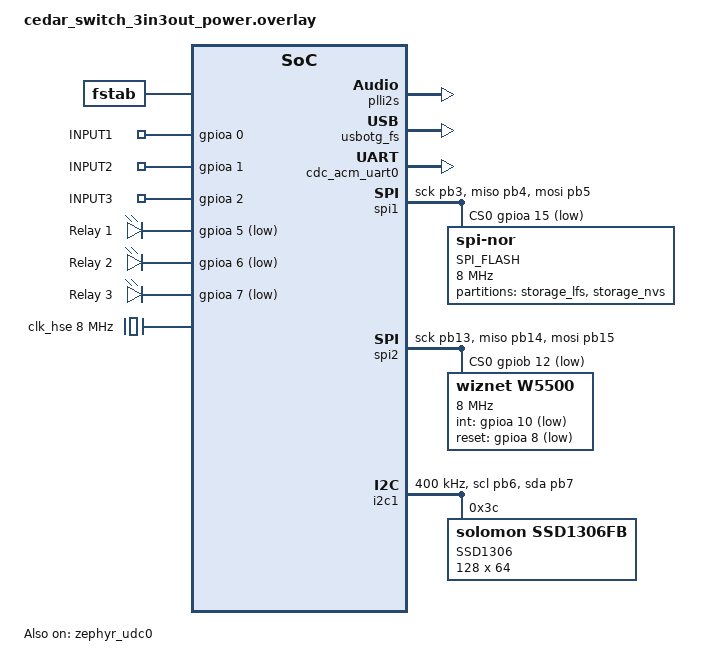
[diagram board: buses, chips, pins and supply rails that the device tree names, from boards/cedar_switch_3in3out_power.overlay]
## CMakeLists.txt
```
# SPDX-License-Identifier: Apache-2.0

cmake_minimum_required(VERSION 3.20.0)
find_package(Zephyr REQUIRED HINTS $ENV{ZEPHYR_BASE})
project(cedar_switch_3in3out_power)

target_sources(app PRIVATE
        src/main.c
        src/test_functions.c # to delete
        src/littlefs/filesystem_helpers.c
        src/zbus_topics.c
        src/msgq_topiks.c
        src/web/http_common.c
        src/web/REST_endpoints/settings_status.c
        src/web/REST_endpoints/default_relay_state.c
        src/web/REST_endpoints/mqtt_settings.c
        src/web/REST_endpoints/relays_state.c
        src/web/REST_endpoints/system_reboot.c
        src/web/REST_endpoints/webui_delete.c
        src/web/REST_endpoints/webui_mkdir.c
        src/web/REST_endpoints/webui_upload.c
        src/web/REST_endpoints/login.c
        src/web/REST_endpoints/web_user_mgmt.c
        src/web/static_resources.c
        src/web/http_server_init.c
        src/mqtt/ha_mqtt.c
        src/mqtt/ha_mqtt_callback.c
        src/mqtt/ha_mqtt_helpers.c
        src/mqtt/ha_mqtt_adapter.c
        src/mqtt/ha_task.c
        src/littlefs/littlefs_mount.c
        src/io/io.c
        src/web/authentication.c
        #src/diagnostic/diag_report.c
#        src/io.c
#        src/fs_mount.c
#        src/nvs_mount.c
#        src/app/web.c
#        src/app/mongoose.c
#        src/app/home_assistant_mqtt.c
#        src/app/rest_api.c
)

zephyr_linker_sources(SECTIONS sections-rom.ld)

zephyr_linker_section(NAME http_resource_desc_http_static_service
        KVMA RAM_REGION GROUP RODATA_REGION)

zephyr_linker_section(NAME http_resource_desc_http_api_service
        KVMA RAM_REGION GROUP RODATA_REGION)
```

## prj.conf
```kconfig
CONFIG_SPOTFLOW=y
CONFIG_SPOTFLOW_MODULE_DEFAULT_LOG_LEVEL=4
CONFIG_SPOTFLOW_DEVICE_ID="zephyr-device-001" # Set unique identifier of your device
CONFIG_SPOTFLOW_INGEST_KEY="sf_ikv1_J9lsvzuhpz9pXoY3jfgBX4100_xrUvJfWwvn5VRRdqv3awV7QBGj6awjZJFe1IQ4GvpcZG"
CONFIG_MBEDTLS_ECDH_C=y
CONFIG_MBEDTLS_ECP_C=y

#CONFIG_BOOTLOADER_MCUBOOT=y
# ========== MAIN KERNEL SETTINGS ==========
CONFIG_THREAD_MONITOR=y
CONFIG_THREAD_NAME=y
CONFIG_THREAD_RUNTIME_STATS=y

CONFIG_MAIN_STACK_SIZE=2048
CONFIG_HEAP_MEM_POOL_SIZE=8192
CONFIG_SYS_HEAP_RUNTIME_STATS=y

CONFIG_INIT_STACKS=y
CONFIG_TIMESLICING=y
CONFIG_TIMESLICE_SIZE=20
CONFIG_TIMESLICE_PRIORITY=0

CONFIG_REBOOT=y
CONFIG_DEBUG=y
CONFIG_COMPILER_OPT="-Og"
CONFIG_DEBUG_OPTIMIZATIONS=y

# ========== LOGGING / SHELL ==========
CONFIG_PRINTK=y
CONFIG_LOG=y
CONFIG_LOG_MODE_DEFERRED=y
CONFIG_LOG_PROCESS_THREAD=y
CONFIG_SHELL_LOG_BACKEND=y
CONFIG_LOG_BACKEND_NET=y
CONFIG_LOG_BACKEND_MQTT=n

# shell via telnet
CONFIG_NET_SHELL=y
CONFIG_KERNEL_SHELL=y
CONFIG_SHELL_BACKEND_TELNET=y
CONFIG_SHELL_TELNET_SUPPORT_COMMAND=y

# ========== NETWORK ==========
CONFIG_NETWORKING=y
CONFIG_NET_IPV4=y
CONFIG_NET_IPV6=n
CONFIG_NET_ARP=y
CONFIG_NET_UDP=y
CONFIG_NET_TCP=y
CONFIG_NET_DHCPV4=y
CONFIG_NET_L2_ETHERNET=y
CONFIG_NET_L2_ETHERNET_MGMT=y
CONFIG_ETH_W5500=y

CONFIG_NET_HOSTNAME_UNIQUE=y
#CONFIG_NET_ARP_TABLE_SIZE=2

# Network managment
CONFIG_NET_MGMT=y
CONFIG_NET_MGMT_EVENT=y
#CONFIG_NET_CONFIG_SETTINGS=y
#CONFIG_NET_CONFIG_AUTO_INIT=n
CONFIG_NET_MGMT_EVENT_STACK_SIZE=1024


#Sockets
CONFIG_NET_SOCKETS=y
CONFIG_NET_SOCKETS_SERVICE=y
CONFIG_NET_SOCKETS_SOCKOPT_TLS=y
CONFIG_NET_SOCKETS_TLS_MAX_CONTEXTS=2
CONFIG_TLS_CREDENTIALS=y
#CONFIG_TLS_CREDENTIALS_SHELL=y

# FD and sockets limits
CONFIG_ZVFS_OPEN_MAX=32
CONFIG_ZVFS_POLL_MAX=10
CONFIG_ZVFS_EVENTFD_MAX=10
CONFIG_NET_MAX_CONTEXTS=20
CONFIG_NET_MAX_CONN=18

#Packets / buffers pools
CONFIG_NET_PKT_RX_COUNT=24
CONFIG_NET_PKT_TX_COUNT=24
CONFIG_NET_BUF_RX_COUNT=48
CONFIG_NET_BUF_TX_COUNT=48
#CONFIG_NET_BUF_DATA_COUNT=128
#CONFIG_NET_BUF_DATA_SIZE=128

#Network packet stack
CONFIG_NET_RX_STACK_SIZE=2048
CONFIG_NET_TX_STACK_SIZE=2048
CONFIG_NET_SOCKETS_SERVICE_STACK_SIZE=2048

#Network monitoring
CONFIG_NET_LOG=y
CONFIG_NET_BUF_POOL_USAGE=y
CONFIG_NET_STATISTICS=y
CONFIG_NET_STATISTICS_PER_INTERFACE=y
CONFIG_NET_STATISTICS_ETHERNET=y
CONFIG_NET_STATISTICS_USER_API=y

#DNS / SNTP
CONFIG_DNS_RESOLVER=y
#CONFIG_DNS_RESOLVER_ADDITIONAL_BUF_CTR=10
#CONFIG_DNS_RESOLVER_MAX_SERVERS=5
CONFIG_SNTP=y

#====================== PROTOCOLS ==================
CONFIG_HTTP_SERVER=y
CONFIG_HTTP_SERVER_RESOURCE_WILDCARD=y
CONFIG_HTTP_PARSER_URL=y
CONFIG_HTTP_PARSER=y
CONFIG_BASE64=y
#CONFIG_HTTP_SERVER_COMPRESSION=y
CONFIG_HTTP_SERVER_CAPTURE_HEADERS=y
CONFIG_HTTP_SERVER_MAX_HEADER_LEN=128

CONFIG_MQTT_LIB=y
CONFIG_MQTT_LIB_TLS=y

# ========== FLASH / FS ==========
CONFIG_FLASH=y
CONFIG_FLASH_MAP=y
CONFIG_FLASH_PAGE_LAYOUT=y
CONFIG_FLASH_JESD216_API=y

CONFIG_SPI=y
CONFIG_SPI_NOR=y
CONFIG_SPI_NOR_SFDP_DEVICETREE=n
CONFIG_SPI_NOR_SFDP_RUNTIME=y
CONFIG_SPI_NOR_FLASH_LAYOUT_PAGE_SIZE=4096

#File systems
CONFIG_FILE_SYSTEM=y
CONFIG_FILE_SYSTEM_MKFS=y
CONFIG_FILE_SYSTEM_LITTLEFS=y
CONFIG_FS_LOG_LEVEL_DBG=y
#CONFIG_FS_LOG_LEVEL_ERR=y
#CONFIG_FS_LITTLEFS_CHECK_ALWAYS=y
CONFIG_NVS=y

CONFIG_SETTINGS=y
CONFIG_SETTINGS_RUNTIME=y
CONFIG_SETTINGS_NVS=y
CONFIG_SETTINGS_LOG_LEVEL_DBG=y
CONFIG_NVS_LOG_LEVEL_DBG=y

# ========== GPIO / LED ==========
CONFIG_GPIO=y
CONFIG_LED=y
CONFIG_LED_GPIO=y

# ========== Console ==========
CONFIG_CONSOLE=y
CONFIG_UART_CONSOLE=n

# ======= Inter process communication ========
CONFIG_ZBUS=y

# ============== I2C ==============
CONFIG_I2C=y
CONFIG_I2C_SHELL=y

# ============== Display ==========
CONFIG_DISPLAY=y
CONFIG_SSD1306=y

# =========== Other ===============
CONFIG_SLIP_STATISTICS=n
CONFIG_POSIX_API=y
CONFIG_JSON_LIBRARY=y
CONFIG_ENTROPY_GENERATOR=y
CONFIG_ENTROPY_STM32_RNG=y
CONFIG_TEST_RANDOM_GENERATOR=n
CONFIG_MBEDTLS_SHA256_SMALLER=y

#CONFIG_MBEDTLS_SHA256=y
#CONFIG_TINYCRYPT=y
#CONFIG_TINYCRYPT_SHA256=y


# File system backend
#CONFIG_LOG_BACKEND_FS=y
#CONFIG_LOG_BACKEND_FS_OVERWRITE=y
#CONFIG_LOG_BACKEND_FS_FILE_PREFIX="log"
#CONFIG_LOG_BACKEND_FS_DIR="/lfs/log"
#CONFIG_LOG_BACKEND_FS_FILE_SIZE=4096
#CONFIG_LOG_BACKEND_FS_FILES_LIMIT=10
#CONFIG_LOG_BACKEND_FS_OUTPUT_TEXT=y

#CONFIG_SNTP=y
#CONFIG_SNTP_INIT_AUTO=y
#CONFIG_SNTP_SERVER_DEFAULT="pool.ntp.org"
#CONFIG_NET_SOCKETS_LOG_LEVEL_DBG=y
```

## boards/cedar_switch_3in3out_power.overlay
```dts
&rtc {
	status = "disabled";
};

&clk_hse {
	/delete-property/ hse-bypass;
	clock-frequency = <DT_FREQ_M(8)>; /* STLink 8MHz clock */
	status = "okay";
};

&pll {
	div-m = <4>;
	mul-n = <100>;
	div-p = <2>;
	div-q = <4>;
	clocks = <&clk_hse>;
	status = "okay";
};

/* PLLI2S для 48 МГц */
&plli2s {
	div-m = <6>;      /* PLLI2SM */
	mul-n = <144>;    /* PLLI2SN -> VCO 384 MHz */
	div-q = <4>;      /* PLLI2SQ -> 48 MHz */
	div-r = <2>;      /* PLLI2SR -> 100 MHz */
	status = "okay";
};

/* Подать 48 МГц на USB из PLLI2S.Q */
//&clk48 {
//	status = "okay";
//	clocks = <&rcc STM32_SRC_PLLI2S_Q CK48M_SEL(1)>;
//};

&rcc {
	clocks = <&pll>;
	clock-frequency = <DT_FREQ_M(100)>;
	ahb-prescaler = <1>;
	apb1-prescaler = <2>;
	apb2-prescaler = <1>;
};

&usbotg_fs {
	status = "okay";
};

&zephyr_udc0 {                     /* это ваш FS-контроллер usb@50000000 */
status = "okay";

	cdc_acm_uart0: cdc_acm_uart0 { /* ВАЖНО: дочерняя нода контроллера */
	compatible = "zephyr,cdc-acm-uart";
		status = "okay";
		label = "CDC_ACM_0";
		/* опционально:
		 * hw-flow-control;   // если хотите CTS/RTS (обычно не нужно)
		 */
	};
};

&spi1 {
	pinctrl-0 = <&spi1_sck_pb3 &spi1_miso_pb4 &spi1_mosi_pb5>;
	pinctrl-names = "default";
	status = "okay";
	cs-gpios = <&gpioa 15 GPIO_ACTIVE_LOW>;  // CS для Flash

	/* --- SPI NOR Flash MX25R6435F (64 Mbit = 8 MiB) --- */
	spi_flash: spi-nor@0 {
		compatible = "jedec,spi-nor";
		reg = <0>;
		status = "okay";
		label = "SPI_FLASH";
		spi-max-frequency = <8000000>;

		partitions {
			compatible = "fixed-partitions";
			#address-cells = <1>;
			#size-cells = <1>;

			/* Раздел под LittleFS (пример: 8 MiB) */
			storage_lfs_partition: partition@0 {
				label = "storage_lfs";
				reg = <0x00000000 0x00800000>; /* 8 MiB */
			};

			/* Раздел под NVS (пример: 8 MiB) */
			storage_nvs_partition: partition@800000 {
				label = "storage_nvs";
				reg = <0x00800000 0x00800000>; /* 8 MiB */
			};
		};
	};
};

&spi2 {
	// W5500 connected over SPI
	pinctrl-0 = <&spi2_sck_pb13 &spi2_miso_pb14 &spi2_mosi_pb15>;
	pinctrl-names = "default";
	status = "okay";
	cs-gpios = <&gpiob 12 GPIO_ACTIVE_LOW>;  // CS для W5500

	w5500: w5500@0 {
		compatible = "wiznet,w5500";
		label = "w5500";
		status = "okay";
		reg = <0>;
		spi-max-frequency = <8000000>;
		int-gpios = <&gpioa 10 GPIO_ACTIVE_LOW>;  // PA10
		reset-gpios = <&gpioa 8 GPIO_ACTIVE_LOW>; // PA8
		//local-mac-address = [00 04 A3 12 34 56];
		zephyr,random-mac-address;
	};
};

&i2c1 {
	pinctrl-0 = <&i2c1_scl_pb6 &i2c1_sda_pb7>;
	pinctrl-names = "default";
	status = "okay";
	clock-frequency = <I2C_BITRATE_FAST>;
	ssd1306@3c {
		compatible = "solomon,ssd1306fb";
		reg = <0x3c>;                 /* адрес дисплея на шине */
		label = "SSD1306";
		width = <128>;
		height = <64>;
		segment-offset = <0>;
		page-offset = <0>;
		display-offset = <0>;
		multiplex-ratio = <63>;
		prechargep = <2>;
		//compins = <0x12>;
		//col-offset = <0>;
	};


};

/ {
	fstab {
		compatible = "zephyr,fstab";
		lfs1: lfs1 {
			compatible = "zephyr,fstab,littlefs";
			read-size = <1>;
			prog-size = <1>;
			cache-size = <256>;
			lookahead-size = <32>;
			block-cycles = <4096>;
			partition = <&storage_lfs_partition>;
			mount-point = "/lfs";
		};
	};
	gpio_keys {
		compatible = "gpio-keys";
		status = "okay";

		in1: in1 {
			gpios = <&gpioa 0 GPIO_ACTIVE_HIGH>;
			label = "INPUT1";
		};

		in2: in2 {
			gpios = <&gpioa 1 GPIO_ACTIVE_HIGH>;
			label = "INPUT2";
		};

		in3: in3 {
			gpios = <&gpioa 2 GPIO_ACTIVE_HIGH>;
			label = "INPUT3";
		};
	};

	gpio_relays {
		compatible = "gpio-leds";
		status = "okay";

		relay1: relay1 {
			gpios = <&gpioa 5 GPIO_ACTIVE_LOW>;  // PA5
			label = "Relay 1";
		};

		relay2: relay2 {
			gpios = <&gpioa 6 GPIO_ACTIVE_LOW>;  // PA6
			label = "Relay 2";
		};

		relay3: relay3 {
			gpios = <&gpioa 7 GPIO_ACTIVE_LOW>;  // PA7
			label = "Relay 3";
		};
	};

	chosen {
		zephyr,udc = &zephyr_udc0;          /* ваш FS контроллер */
		zephyr,console = &cdc_acm_uart0;    /* консоль через USB */
		zephyr,shell-uart = &cdc_acm_uart0; /* если используете shell */
		zephyr,uart-console = &cdc_acm_uart0;
		zephyr,log-console = &cdc_acm_uart0;
	};

	/* Нода требуемая для USB_CDC_ACM */
//	cdc_acm_uart0: cdc_acm_uart0 {
//		compatible = "zephyr,cdc-acm-uart";
//		status = "okay";
//	};

};

&{/chosen} {
	zephyr,settings-partition = &storage_nvs_partition;
};
```

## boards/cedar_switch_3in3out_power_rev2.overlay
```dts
&rtc {
	status = "okay";
};

//&clk_hse {
//	/delete-property/ hse-bypass;
//	clock-frequency = <DT_FREQ_M(8)>; /* STLink 8MHz clock */
//	status = "okay";
//};

//&pll {
//	div-m = <4>;
//	mul-n = <100>;
//	div-p = <2>;
//	div-q = <4>;
//	clocks = <&clk_hse>;
//	status = "okay";
//};

/* PLLI2S для 48 МГц */
//&plli2s {
//	div-m = <6>;      /* PLLI2SM */
//	mul-n = <144>;    /* PLLI2SN -> VCO 384 MHz */
//	div-q = <4>;      /* PLLI2SQ -> 48 MHz */
//	div-r = <2>;      /* PLLI2SR -> 100 MHz */
//	status = "okay";
//};

/* Подать 48 МГц на USB из PLLI2S.Q */
//&clk48 {
//	status = "okay";
//	clocks = <&rcc STM32_SRC_PLLI2S_Q CK48M_SEL(1)>;
//};

//&rcc {
//	clocks = <&pll>;
//	clock-frequency = <DT_FREQ_M(100)>;
//	ahb-prescaler = <1>;
//	apb1-prescaler = <2>;
//	apb2-prescaler = <1>;
//};

//&usbotg_fs {
//	status = "okay";
//};

//&zephyr_udc0 {                     /* это ваш FS-контроллер usb@50000000 */
//status = "okay";
//
//	cdc_acm_uart0: cdc_acm_uart0 { /* ВАЖНО: дочерняя нода контроллера */
//	compatible = "zephyr,cdc-acm-uart";
//		status = "okay";
//		label = "CDC_ACM_0";
//		/* опционально:
//		 * hw-flow-control;   // если хотите CTS/RTS (обычно не нужно)
//		 */
//	};
//};

&spi1 {
	pinctrl-0 = <&spi1_sck_pb3 &spi1_miso_pb4 &spi1_mosi_pb5>;
	pinctrl-names = "default";
	status = "okay";
	cs-gpios = <&gpioa 15 GPIO_ACTIVE_LOW>;  // CS для Flash

	/* --- SPI NOR Flash  (128 Mbit = 16 MiB) --- */
	spi_flash: spi-nor@0 {
		compatible = "jedec,spi-nor";
		reg = <0>;
		status = "okay";
		label = "SPI_FLASH";
		spi-max-frequency = <8000000>;

		partitions {
			compatible = "fixed-partitions";
			#address-cells = <1>;
			#size-cells = <1>;

			/* Раздел под LittleFS (пример: 8 MiB) */
			storage_lfs_partition: partition@0 {
				label = "storage_lfs";
				reg = <0x00000000 0x00800000>; /* 8 MiB */
			};

			/* Раздел под NVS (пример: 8 MiB) */
			storage_nvs_partition: partition@800000 {
				label = "storage_nvs";
				reg = <0x00800000 0x00800000>; /* 8 MiB */
			};
		};
	};
};

&spi2 {
	// W5500 connected over SPI
	pinctrl-0 = <&spi2_sck_pb13 &spi2_miso_pb14 &spi2_mosi_pb15>;
	pinctrl-names = "default";
	status = "okay";
	cs-gpios = <&gpiob 12 GPIO_ACTIVE_LOW>;  // CS для W5500

	w5500: w5500@0 {
		compatible = "wiznet,w5500";
		label = "w5500";
		status = "okay";
		reg = <0>;
		spi-max-frequency = <8000000>;
		int-gpios = <&gpioa 10 GPIO_ACTIVE_LOW>;  // PA10
		reset-gpios = <&gpioa 8 GPIO_ACTIVE_LOW>; // PA8
		//local-mac-address = [00 04 A3 12 34 56];
		//zephyr,random-mac-address;
	};
};

&i2c1 {
	pinctrl-0 = <&i2c1_scl_pb6 &i2c1_sda_pb7>;
	pinctrl-names = "default";
	status = "okay";
	clock-frequency = <I2C_BITRATE_FAST>;
	ssd1306@3c {
		compatible = "solomon,ssd1306fb";
		reg = <0x3c>;                 /* адрес дисплея на шине */
		label = "SSD1306";
		width = <128>;
		height = <64>;
		segment-offset = <0>;
		page-offset = <0>;
		display-offset = <0>;
		multiplex-ratio = <63>;
		prechargep = <2>;
	};
};

/ {
	fstab {
		compatible = "zephyr,fstab";
		lfs1: lfs1 {
			compatible = "zephyr,fstab,littlefs";
			read-size = <1>;
			prog-size = <1>;
			cache-size = <256>;
			lookahead-size = <32>;
			block-cycles = <4096>;
			partition = <&storage_lfs_partition>;
			mount-point = "/lfs";
		};
	};
	gpio_keys {
		compatible = "gpio-keys";
		status = "okay";

		in1: in1 {
			gpios = <&gpioa 0 GPIO_ACTIVE_HIGH>;
			label = "INPUT1";
		};

		in2: in2 {
			gpios = <&gpioa 1 GPIO_ACTIVE_HIGH>;
			label = "INPUT2";
		};

		in3: in3 {
			gpios = <&gpioa 2 GPIO_ACTIVE_HIGH>;
			label = "INPUT3";
		};
	};

	chosen {
		//zephyr,udc = &zephyr_udc0;          /* ваш FS контроллер */
		//zephyr,console = &cdc_acm_uart0;    /* консоль через USB */
		//zephyr,shell-uart = &cdc_acm_uart0; /* если используете shell */
		//zephyr,uart-console = &cdc_acm_uart0;
		//zephyr,log-console = &cdc_acm_uart0;
	};

	/* Нода требуемая для USB_CDC_ACM */
//	cdc_acm_uart0: cdc_acm_uart0 {
//		compatible = "zephyr,cdc-acm-uart";
//		status = "okay";
//	};

};

&{/chosen} {
	zephyr,settings-partition = &storage_nvs_partition;
};
```

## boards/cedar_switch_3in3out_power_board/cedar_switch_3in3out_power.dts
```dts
/*
 * Copyright (c) 2017 Florian Vaussard, HEIG-VD
 *
 * SPDX-License-Identifier: Apache-2.0
 */

/dts-v1/;
#include <st/f4/stm32f411xe.dtsi>
#include <st/f4/stm32f411c(c-e)ux-pinctrl.dtsi>
//#include "arduino_r3_connector.dtsi"
#include <zephyr/dt-bindings/input/input-event-codes.h>

/ {
	model = "Kshypachov Ceadr Switch 3 inputs 3 outputs with power counting board";
	compatible = "kshypachov,cedar-switch-3in3out-power", "st,stm32f411ce", "st,stm32f4";

	chosen {
//		zephyr,console = &usart3;
//		zephyr,shell-uart = &usart3;
		zephyr,sram = &sram0;
		zephyr,flash = &flash0;
	};

	leds: leds {
		compatible = "gpio-leds";

		green_led_1: led_1 {
			gpios = <&gpiob 0 GPIO_ACTIVE_HIGH>;
			label = "User LD1";
		};

		blue_led_1: led_2 {
			gpios = <&gpiob 1 GPIO_ACTIVE_HIGH>;
			label = "User LD2";
		};

		red_led_1: led_3 {
			gpios = <&gpiob 2 GPIO_ACTIVE_HIGH>;
			label = "User LD3";
		};
	};

	aliases {
		led0 = &green_led_1;
		led1 = &blue_led_1;
		led2 = &red_led_1;
	};

};


//&spi2 {
//	status = "okay";
//	cs-gpios = <&gpiob 12 GPIO_ACTIVE_LOW>, <&gpioa 9 GPIO_ACTIVE_LOW>;
//	pinctrl-0 = <&spi2_sck_pb13 &spi2_miso_pb14 &spi2_mosi_pb15>;
//	pinctrl-names = "default";
//
//	w5500@0 {
//		compatible = "wiznet,w5500";
//		reg = <0>;
//		label = "ETH_W5500";
//		spi-max-frequency = <8000000>;
//		reset-gpios = <&gpioa 10 GPIO_ACTIVE_LOW>;
//		int-gpios = <&gpioa 0 GPIO_ACTIVE_LOW>;
//	};
//
//	flash@1 {
//		compatible = "jedec,spi-nor";
//		reg = <1>;
//		label = "W25Q64";
//		spi-max-frequency = <50000000>;
//	};
//};

&clk_lsi {
	status = "okay";
};

&clk_hse {
	hse-bypass;
	clock-frequency = <DT_FREQ_M(8)>; /* STLink 8MHz clock */
	status = "okay";
};

&pll {
	div-m = <8>;
	mul-n = <384>;
	div-p = <4>;
	div-q = <8>;
	clocks = <&clk_hse>;
	status = "okay";
};

&rcc {
	clocks = <&pll>;
	clock-frequency = <DT_FREQ_M(96)>;
	ahb-prescaler = <1>;
	apb1-prescaler = <2>;
	apb2-prescaler = <1>;
};


zephyr_udc0: &usbotg_fs {
	pinctrl-0 = <&usb_otg_fs_dm_pa11 &usb_otg_fs_dp_pa12>;
	pinctrl-names = "default";
	status = "okay";
};

&timers2 {
	status = "okay";

	pwm2: pwm {
		status = "okay";
		pinctrl-0 = <&tim2_ch1_pa0>;
		pinctrl-names = "default";
	};
};

&rtc {
	clocks = <&rcc STM32_CLOCK_BUS_APB1 0x10000000>,
		 <&rcc STM32_SRC_LSI RTC_SEL(2)>;
	status = "okay";
};
```

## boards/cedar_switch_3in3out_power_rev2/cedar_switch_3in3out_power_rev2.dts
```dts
/*
 * Copyright (c) 2017 Powersoft
 *
 * SPDX-License-Identifier: Apache-2.0
 */

/dts-v1/;
#include <st/f4/stm32f412Xe.dtsi>
#include <st/f4/stm32f412c(e-g)ux-pinctrl.dtsi>
#include <zephyr/dt-bindings/input/input-event-codes.h>

/ {
	model = "Сedar_switch_3in3out_power_rev2";
	compatible = "st,cedar_switch_3in3out_power_rev2";

	chosen {
//		zephyr,console = &usart2;
//		zephyr,shell-uart = &usart2;
		zephyr,sram = &sram0;
		zephyr,flash = &flash0;
	};

	leds {
		compatible = "gpio-leds";

		green_led_1: led_1 {
			gpios = <&gpiob 0 GPIO_ACTIVE_HIGH>;
			label = "User LD1";
		};

		orange_led_2: led_2 {
			gpios = <&gpiob 1 GPIO_ACTIVE_HIGH>;
			label = "User LD2";
		};

		red_led_3: led_3 {
			gpios = <&gpiob 2 GPIO_ACTIVE_HIGH>;
			label = "User LD3";
		};

		relay_ac1: relay_1{
			gpios = <&gpioa 5 GPIO_ACTIVE_HIGH>;
			label = "Relay 1";
		};

		relay_ac2: relay_2{
			gpios = <&gpioa 6 GPIO_ACTIVE_HIGH>;
			label = "Relay 2";
		};

		relay_ac3: relay_3{
			gpios = <&gpioa 7 GPIO_ACTIVE_HIGH>;
			label = "Relay 3";
		};
	};

//	gpio_keys {
//		compatible = "gpio-keys";
//
//		joy_sel: joystick_selection {
//			label = "joystick selection";
//			gpios = <&gpioa 0 (GPIO_ACTIVE_HIGH | GPIO_PULL_DOWN)>;
//			zephyr,code = <INPUT_KEY_ENTER>;
//		};
//
//		joy_down: joystick_down {
//			label = "joystick down";
//			gpios = <&gpiog 1 (GPIO_ACTIVE_HIGH | GPIO_PULL_DOWN)>;
//			zephyr,code = <INPUT_KEY_DOWN>;
//		};
//
//		joy_up: joystick_up {
//			label = "joystick up";
//			gpios = <&gpiog 0 (GPIO_ACTIVE_HIGH | GPIO_PULL_DOWN)>;
//			zephyr,code = <INPUT_KEY_UP>;
//		};
//
//		joy_left: joystick_left {
//			label = "joystick left";
//			gpios = <&gpiof 15 (GPIO_ACTIVE_HIGH | GPIO_PULL_DOWN)>;
//			zephyr,code = <INPUT_KEY_LEFT>;
//		};
//
//		joy_right: joystick_right {
//			label = "joystick right";
//			gpios = <&gpiof 14 (GPIO_ACTIVE_HIGH | GPIO_PULL_DOWN)>;
//			zephyr,code = <INPUT_KEY_RIGHT>;
//		};
//	};

	aliases {
		led0 = &green_led_1;
		led1 = &orange_led_2;
		led2 = &red_led_3;

		relay1 = &relay_ac1;
		relay2 = &relay_ac2;
		relay3 = &relay_ac3;
	};
};

&clk_lsi {
	status = "okay";
};

&clk_lse {
	clock-frequency = <32768>;
	status = "okay";
};

&clk_hse {
//	hse-bypass;
	clock-frequency = <DT_FREQ_M(8)>; /* STLink 8MHz clock */
	status = "okay";
};

&pll {
	div-m = <4>;
	mul-n = <100>;
	div-p = <2>;
	div-q = <8>;
	clocks = <&clk_hse>;
	status = "okay";
};

&plli2s {
	status = "okay";
	div-m = <4>;
	mul-n = <96>;
	div-q = <4>;
	div-r = <6>;
};

&rcc {
	status = "okay";
	clocks = <&pll>;
	clock-frequency = <DT_FREQ_M(100)>;
	ahb-prescaler = <1>;
	apb1-prescaler = <2>;
	apb2-prescaler = <1>;
};


&clk48 {
	compatible = "st,stm32-clock-mux";
	clocks = <&rcc STM32_SRC_PLLI2S_Q CK48M_SEL(1)>;
	status = "okay";
};

&rtc {
	clocks = <&rcc STM32_SRC_LSE RTC_SEL(1)>;
	status = "okay";
};

&rng {
	status = "okay";
};

//&usart2 {
//	pinctrl-0 = <&usart2_tx_pa2 &usart2_rx_pa3>;
//	pinctrl-names = "default";
//	current-speed = <115200>;
//	status = "okay";
//};

//&usart6 {
//	pinctrl-0 = <&usart6_tx_pg14 &usart6_rx_pg9>;
//	pinctrl-names = "default";
//	current-speed = <115200>;
//	status = "okay";
//};

//&i2c2 {
//	pinctrl-0 = <&i2c2_scl_pb10 &i2c2_sda_pb9>;
//	pinctrl-names = "default";
//	clock-frequency = <I2C_BITRATE_FAST>;
//	status = "okay";
//};

//&spi1 {
//	pinctrl-0 = <&spi1_nss_pa15 &spi1_sck_pa5
//		     &spi1_miso_pa6 &spi1_mosi_pa7>;
//	pinctrl-names = "default";
//	status = "okay";
//};
```

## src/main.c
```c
#include <string.h>
#include <zephyr/settings/settings.h>
#include <zephyr/kernel.h>
#include <zephyr/drivers/gpio.h>
#include <zephyr/usb/usb_device.h>
#include <zephyr/device.h>
#include <zephyr/drivers/flash.h>
#include <zephyr/net/net_if.h>
#include <zephyr/net/net_mgmt.h>
#include <zephyr/net/net_event.h>
#include <zephyr/net/dhcpv4.h>
#include <zephyr/fs/fs.h>
#include <zephyr/fs/littlefs.h>
#include <zephyr/storage/flash_map.h>
#include <zephyr/net/ethernet_mgmt.h>
#include <zephyr/logging/log.h>
//#include <zephyr/version.h>
#include <zephyr/drivers/entropy.h>
#include <zephyr/net/net_config.h>
#include <zephyr/logging/log_backend.h>
#include <zephyr/logging/log_backend_net.h>
#include <zephyr/logging/log_ctrl.h>

#include "web/http_server_init.h"
#include "mqtt/ha_mqtt.h"
#include "io/io.h"
#include "littlefs/littlefs_mount.h"


#include "test_functions.h"
#include  "diagnostic/diag_report.h"

LOG_MODULE_REGISTER(main_app);

/* 1000 msec = 1 sec */
#define SLEEP_TIME_MS   1000

/* The devicetree node identifier for the "led0" alias. */
#define LED0_NODE DT_ALIAS(led0)

#define FLASH_NODE DT_NODELABEL(spi_flash)

#if !DT_NODE_HAS_STATUS(FLASH_NODE, okay)
#error "DT node 'spi_flash' not found or not okay"
#endif

#define STM32_UID_BASE  0x1FFF7A10U

#define STORAGE_PARTITION	storage_partition
#define STORAGE_PARTITION_ID	FIXED_PARTITION_ID(STORAGE_PARTITION)

/* Получаем numeric ID разделов из DTS по алиасам узлов fixed-partitions */
#define LFS_PART_ID  FIXED_PARTITION_ID(storage_lfs_partition)
#define NVS_PART_ID  FIXED_PARTITION_ID(storage_nvs_partition)



static const struct gpio_dt_spec led = GPIO_DT_SPEC_GET(LED0_NODE, gpios);

static void dump_hex(const uint8_t *buf, size_t len)
{
	for (size_t i = 0; i < len; i++) {
		printk("%02X%s", buf[i], ((i + 1) % 16) ? " " : "\n");
	}
	if (len % 16) {
		printk("\n");
	}
}

static struct net_mgmt_event_callback cb;

static void ipv4_addr_add_handler(struct net_mgmt_event_callback *cb,
								  uint32_t mgmt_event, struct net_if *iface)
{
	//k_msleep(SLEEP_TIME_MS * 10);
	//web_start();
	//home_assistant_mqtt_start();

	const struct log_backend *backend = log_backend_net_get();

	if (!log_backend_is_active(backend)) {

		/* Specifying an address by calling this function will
		 * override the value given to LOG_BACKEND_NET_SERVER.
		   It can also be called at any other time after the backend
		   is started. The net context will be released and
		   restarted with the newly specified address.
		 */
		//log_backend_net_set_addr("192.168.88.182:514");
		//log_backend_init(backend);
		//log_backend_enable(backend, backend->cb->ctx, LOG_LEVEL_DBG);
		//log_backend_net_start();
	}

	app_http_server_init();
	app_mqtt_ha_client_init();
	//net_diag_start_periodic(K_SECONDS(5));


	if (mgmt_event != NET_EVENT_IPV4_ADDR_ADD) {
		return;
	}

	char addr_str[NET_IPV4_ADDR_LEN];
	struct net_if_addr *ifaddr = net_if_ipv4_get_global_addr(iface, NET_ADDR_DHCP);
	if (!ifaddr) {
		ifaddr = net_if_ipv4_get_global_addr(iface, NET_ADDR_MANUAL);
	}
	if (ifaddr) {
		net_addr_ntop(AF_INET, &ifaddr->address.in_addr, addr_str, sizeof(addr_str));
		// LOG_INF("IPv4 address acquired: %s", addr_str);
	} else {
		// LOG_INF("IPv4 address acquired (type unknown)");
	}
}

static void make_mac_from_uid(uint8_t mac[6])
{
	const uint32_t *uid = (const uint32_t *)STM32_UID_BASE;
	uint32_t a = uid[0], b = uid[1], c = uid[2];

	// Простой mix (можно заменить на xxhash/CRC32, если включено)
	uint32_t h = a ^ (b << 11) ^ (c << 22) ^ (a >> 7) ^ (b >> 3);
	// Байт 0: local admin (bit1=1), unicast (bit0=0); выберите свой OUI при необходимости
	mac[0] = 0x02;           // LAA + unicast
	mac[1] = 0x00;
	mac[2] = 0x5E;
	mac[3] = (uint8_t)(h >> 16);
	mac[4] = (uint8_t)(h >> 8);
	mac[5] = (uint8_t)(h);
}

/* Универсальная функция стирания раздела целиком */
static int erase_partition_by_id(uint8_t part_id)
{
	const struct flash_area *fa;
	int rc = flash_area_open(part_id, &fa);
	if (rc) {
		LOG_ERR("flash_area_open(%u) failed: %d", part_id, rc);
		return rc;
	}

	LOG_INF("Erasing partition id=%u, offset=0x%lx, size=0x%lx",
			(unsigned)part_id, (unsigned long)fa->fa_off, (unsigned long)fa->fa_size);

	/* Важно: перед стиранием убедитесь, что ФС на этом разделе размонтирована,
	   и никакие задачи его не используют. */

	rc = flash_area_erase(fa, 0, fa->fa_size);  /* стираем ВСЮ область */
	flash_area_close(fa);

	if (rc) {
		LOG_ERR("flash_area_erase failed: %d", rc);
		return rc;
	}

	LOG_INF("Erase OK");
	return 0;
}

int main(void)
{
	int ret;

	LOG_INF("Start main app");

	//int usb_ret = usb_enable(NULL);
	if (!gpio_is_ready_dt(&led)) {
		LOG_ERR("Error: LED device is not ready\n");
		return 0;
	}

	ret = gpio_pin_configure_dt(&led, GPIO_OUTPUT_ACTIVE);
	if (ret < 0) {
		LOG_ERR("Error %d: failed to configure LED\n", ret);
		return 0;
	}

	const struct device *flash = DEVICE_DT_GET(FLASH_NODE);

	if (!device_is_ready(flash)) {
		LOG_ERR("SPI_FLASH not ready (probe failed or disabled)");
		return 0;
	}

	const struct flash_parameters *p = flash_get_parameters(flash);
	if (p) {
		printk("erase_value=0x%02x, write_block=%u",
				p->erase_value, p->write_block_size);
	}

	//const struct device *flash_dev = DEVICE_DT_GET(FLASH_NODE);

	const struct device *flash_dev = DEVICE_DT_GET(DT_NODELABEL(spi_flash));
	if (!device_is_ready(flash_dev)) {
		printk("Flash device not ready\n");
		return 0;
	}

    /* Получаем устройство энтропии, выбранное devicetree (chosen: zephyr,entropy) */
    const struct device *entropy = DEVICE_DT_GET(DT_CHOSEN(zephyr_entropy));
    if (!device_is_ready(entropy)) {
        LOG_ERR("Entropy device is not ready! Check your Kconfig/DTS.");
        return 0;
    }

//	(void)erase_partition_by_id(LFS_PART_ID);
//	(void)erase_partition_by_id(NVS_PART_ID);

	// struct flash_pages_info info;
	// if (flash_get_page_info_by_offs(flash_dev, 0, &info) == 0) {
	// 	size_t page_size = info.size;
	// 	size_t page_count = flash_get_page_count(flash_dev);
	// 	size_t total_size = page_size * page_count;
	//
	// 	printk("Flash total size: %u bytes (%u KiB)\n",
	// 		   (unsigned int)total_size,
	// 		   (unsigned int)(total_size / 1024));
	// 	printk("Page size: %u bytes\n", (unsigned int)page_size);
	// 	printk("Page count: %u\n", (unsigned int)page_count);
	// } else {
	// 	printk("Failed to get flash info\n");
	// }

	const struct flash_parameters *params = flash_get_parameters(flash_dev);
	if (params) {
		printk("Erase value: 0x%02x\n", params->erase_value);
		printk("Write block size: %u\n", params->write_block_size);
	}

	/* Подписка на событие получения IPv4 адреса */
	net_mgmt_init_event_callback(&cb, ipv4_addr_add_handler, NET_EVENT_IPV4_ADDR_ADD);
	net_mgmt_add_event_callback(&cb);

	/* Включаем интерфейс по умолчанию (w5500) */
	struct net_if *iface = net_if_get_default();
	uint8_t mac[6];
	make_mac_from_uid(mac);

	(void)settings_subsys_init();
	(void)settings_load();
	(void)fs_service_init();
	io_init();


	if (iface) {
		struct ethernet_req_params mac_params = {
			.mac_address.addr = { 0x02, 0x00, 0x00, 0x12, 0x34, 0x56 }
		};

		net_if_down(iface);
		ret = net_mgmt(NET_REQUEST_ETHERNET_SET_MAC_ADDRESS, iface, &mac_params, sizeof(struct ethernet_req_params));
		net_if_up(iface); /* DHCP стартует автоматически при CONFIG_NET_DHCPV4=y */
		(void)net_dhcpv4_start(iface);    // ЯВНО запустить DHCP
		LOG_INF("Network interface up");
	}



	int answ = 0;
	answ = fs_mkdir("/lfs/test1");
	answ = fs_mkdir("/lfs/test1/test2");
	answ = fs_mkdir("/lfs/test1/test2/test3");
	//fs_delete_tree("/lfs/test1");

	fs_mkdir("/lfs/www");

	create_index_html();

	LOG_INF("answ = %d", answ);

	while (1) {
		ret = gpio_pin_toggle_dt(&led);
		if (ret < 0) {
			printk("Error %d: failed to toggle LED\n", ret);
			return 0;
		}

		k_msleep(SLEEP_TIME_MS);
	}
}
```

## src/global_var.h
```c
//
// Created by Kirill Shypachov on 18.09.2025.
//

#ifndef CEDAR_SWITCH_3IN3OUT_POWER_GLOBAL_VAR_H
#define CEDAR_SWITCH_3IN3OUT_POWER_GLOBAL_VAR_H

#define base_web_ui_fs_path "/lfs/www"

#define MQTT_UNIC_IDENTIFIER_LENGTH     32
#define hw_ver                          "1.0"
#define sw_ver                          "1.0"

#define device_input_count              3
#define device_relay_count              3

#define mqtt_topik_max_len              128
#define mqtt_payload_max_len            700


#endif //CEDAR_SWITCH_3IN3OUT_POWER_GLOBAL_VAR_H
```

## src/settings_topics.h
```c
//
// Created by Kirill Shypachov on 14.09.2025.
//

#ifndef CEDAR_SWITCH_3IN3OUT_POWER_SETTINGS_TOPICS_H
#define CEDAR_SWITCH_3IN3OUT_POWER_SETTINGS_TOPICS_H
#include <stdbool.h>

#define def_relays_state_enable_settings_topik "/settings/relays/default/enabled"
#define def_relays1_state_settings_topik      "/settings/relays/default/1"
#define def_relays2_state_settings_topik      "/settings/relays/default/2"
#define def_relays3_state_settings_topik      "/settings/relays/default/3"

typedef struct  {
    bool enabled;
    bool relay1;
    bool relay2;
    bool relay3;
} relays_def_state;


#define mqtt_enabled_settings "/settings/mqtt/enabled"
#define mqtt_secure_settings  "/settings/mqtt/secure"
#define mqtt_host_settings    "/settings/mqtt/host"
#define mqtt_port_settings    "/settings/mqtt/port"
#define mqtt_user_settings    "/settings/mqtt/user"
#define mqtt_pass_settings    "/settings/mqtt/pass"

typedef struct {
    bool changed;
    bool enabled;
    bool secure;
    char host[128];
    uint16_t port;
    char user[128];
    char pass[128];
} mqtt_settings_t;

#define web_users_settings "/settings/web/users"
#define MAX_USERS 2
#define MAX_USERNAME_LEN 32
#define MAX_PASS_HASH_LEN 32
#define MAX_PASS_TEXT_LEN MAX_USERNAME_LEN


typedef struct {
    char user[MAX_USERNAME_LEN];
    uint8_t pass_hash[MAX_PASS_HASH_LEN];
}web_user_t;

typedef struct {
    bool changed;
    web_user_t user[MAX_USERS];
}web_users_list_t;

#endif //CEDAR_SWITCH_3IN3OUT_POWER_SETTINGS_TOPICS_H
```

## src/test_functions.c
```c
//
// Created by Kirill Shypachov on 17.09.2025.
//

#include "test_functions.h"
#include <zephyr/kernel.h>
#include <stdio.h>
#include <zephyr/fs/fs.h>
#include <zephyr/logging/log.h>
#include <string.h>
#include <errno.h>

#ifndef PATH_MAX
#define PATH_MAX 256
#endif

LOG_MODULE_REGISTER(test_functions);

// static int join_path(char *out, size_t out_sz, const char *base, const char *name)
// {
//     int n = snprintf(out, out_sz, "%s/%s", base, name);
//     if (n < 0 || (size_t)n >= out_sz) {
//         return -ENAMETOOLONG;
//     }
//     return 0;
// }

// static int fs_delete_tree(const char *path)
// {
//     int rc;
//     struct fs_dir_t dir;
//     struct fs_dirent ent;
//
//     if (!path || !*path) {
//         return -EINVAL;
//     }
//     fs_dir_t_init(&dir);
//
//     /* Попробуем открыть как каталог. Если это файл — просто удалить. */
//     rc = fs_opendir(&dir, path);
//     if (rc < 0) {
//         /* Не каталог? — пробуем удалить как файл */
//         rc = fs_unlink(path);
//         return rc;
//     }
//
//     /* Это каталог: обходим содержимое */
//     for (;;) {
//         rc = fs_readdir(&dir, &ent);
//         if (rc < 0) {
//             fs_closedir(&dir);
//             return rc;
//         }
//         if (ent.name[0] == 0) {
//             /* конец каталога */
//             break;
//         }
//
//         /* Zephyr обычно не возвращает "." и "..", но на всякий случай: */
//         if ((strcmp(ent.name, ".") == 0) || (strcmp(ent.name, "..") == 0)) {
//             continue;
//         }
//
//         char child[PATH_MAX];
//         rc = join_path(child, sizeof(child), path, ent.name);
//         if (rc < 0) {
//             fs_closedir(&dir);
//             return rc;
//         }
//
//         if (ent.type == FS_DIR_ENTRY_DIR) {
//             /* рекурсивно удалить подкаталог, затем rmdir */
//             fs_closedir(&dir);
//             rc = fs_delete_tree(child);
//
//             fs_dir_t_init(&dir);
//             fs_opendir(&dir, path);
//
//             if (rc < 0) {
//                 fs_closedir(&dir);
//                 return rc;
//             }
//             rc = fs_unlink(path);
//             if (rc < 0) {
//                 fs_closedir(&dir);
//                 return rc;
//             }
//         } else if (ent.type == FS_DIR_ENTRY_FILE) {
//             rc = fs_unlink(child);
//             if (rc < 0) {
//                 fs_closedir(&dir);
//                 return rc;
//             }
//         } else {
//             /* На всякий случай: неизвестный тип — пробуем удалить как файл */
//             rc = fs_unlink(child);
//             if (rc < 0) {
//                 fs_closedir(&dir);
//                 return rc;
//             }
//         }
//     }
//
//     fs_closedir(&dir);
//
//     /* После очистки содержимого — удалить сам каталог (вызовите отдельно при необходимости) */
//     rc = fs_unlink(path);
//     return rc;
// }


int create_index_html(void)
{
    struct fs_file_t file;
    int ret;

    /* Подготовим дескриптор */
    fs_file_t_init(&file);

    /* Создаём/открываем файл на запись (с перезаписью) */
    ret = fs_open(&file, "/lfs/www/index.html", FS_O_CREATE | FS_O_RDWR);
    if (ret < 0) {
        LOG_ERR("fs_open failed (%d)", ret);
        return ret;
    }

    const char *html =
        "<!DOCTYPE html>\n"
        "<html>\n"
        "<head><title>Test Page</title></head>\n"
        "<body>\n"
        "  <h1>Hello from Zephyr!</h1>\n"
        "</body>\n"
        "</html>\n";

    /* Запишем данные */
    ret = fs_write(&file, html, strlen(html));
    if (ret < 0) {
        LOG_ERR("fs_write failed (%d)", ret);
        fs_close(&file);
        return ret;
    }

    LOG_INF("index.html created, %d bytes written", ret);

    fs_close(&file);
    return 0;
}
```

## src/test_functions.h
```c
//
// Created by Kirill Shypachov on 17.09.2025.
//

#ifndef CEDAR_SWITCH_3IN3OUT_POWER_TEST_FUNCTIONS_H
#define CEDAR_SWITCH_3IN3OUT_POWER_TEST_FUNCTIONS_H

//int fs_delete_tree(const char *path);
int create_index_html(void);

#endif //CEDAR_SWITCH_3IN3OUT_POWER_TEST_FUNCTIONS_H
```

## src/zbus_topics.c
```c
//
// Created by Kirill Shypachov on 15.09.2025.
//
#include "zbus_topics.h"

#include <zephyr/kernel.h>
#include <zephyr/zbus/zbus.h>
#include <stdbool.h>

#include "sys/socket.h"

// Канал zbus с состоянием выходов
ZBUS_CHAN_DEFINE(outputs_zbus_topik,            /* имя канала */
                 outputs_msg_t,       /* тип сообщения */
                 NULL, NULL,               /* callback до/после публикации (можно NULL) */
                 ZBUS_OBSERVERS_EMPTY,     /* список наблюдателей */
                 ZBUS_MSG_INIT(0, 0));     /* начальное значение */

// Канал zbus с состоянием входов
ZBUS_CHAN_DEFINE(inputs_zbus_topik,            /* имя канала */
                 outputs_msg_t,       /* тип сообщения */
                 NULL, NULL,               /* callback до/после публикации (можно NULL) */
                 ZBUS_OBSERVERS_EMPTY,     /* список наблюдателей */
                 ZBUS_MSG_INIT(0, 0));     /* начальное значение */

// Канал zbus с состоянием MQTT
ZBUS_CHAN_DEFINE(mqtt_stat_zbus_topik,            /* имя канала */
                 mqtt_status_msg_t,       /* тип сообщения */
                 NULL, NULL,               /* callback до/после публикации (можно NULL) */
                 ZBUS_OBSERVERS_EMPTY,     /* список наблюдателей */
                 ZBUS_MSG_INIT(
                     .seq = 0,
                     .enabled = false,
                     .connected = false));     /* начальное значение */
```

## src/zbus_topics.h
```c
//
// Created by Kirill Shypachov on 15.09.2025.
//

#ifndef CEDAR_SWITCH_3IN3OUT_POWER_ZBUS_TOPICS_H
#define CEDAR_SWITCH_3IN3OUT_POWER_ZBUS_TOPICS_H
#include <zephyr/kernel.h>
#include <zephyr/zbus/zbus.h>
#include <stdbool.h>

#define outputs_zbus_topik outputs_topic
#define inputs_zbus_topik inputs_topic
#define mqtt_stat_zbus_topik mqtt_status_topic

ZBUS_CHAN_DECLARE(outputs_zbus_topik);
ZBUS_CHAN_DECLARE(inputs_zbus_topik);
ZBUS_CHAN_DECLARE(mqtt_stat_zbus_topik);

//structure for relay state exchange
typedef struct {
    uint32_t seq;   /* уникальный номер или счётчик сообщения */
    uint8_t state;  /* биты реле */
} outputs_msg_t;

typedef struct {
    uint32_t seq;  /**/
    uint8_t state;  /**/
} inputs_msg_t;

typedef struct  {
    uint64_t seq;
    bool enabled;
    bool connected;
}mqtt_status_msg_t;

#endif //CEDAR_SWITCH_3IN3OUT_POWER_ZBUS_TOPICS_H
```
